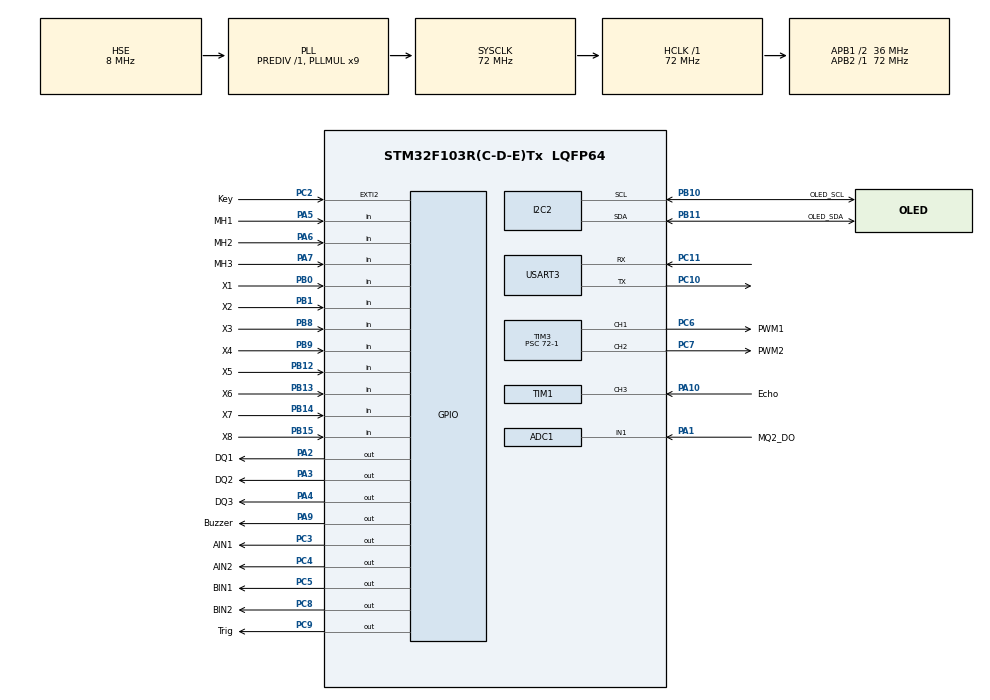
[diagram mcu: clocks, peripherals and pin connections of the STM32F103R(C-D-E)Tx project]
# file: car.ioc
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ADC1.Channel-10\#ChannelRegularConversion=ADC_CHANNEL_1
ADC1.NbrOfConversionFlag=1
ADC1.Rank-10\#ChannelRegularConversion=1
ADC1.SamplingTime-10\#ChannelRegularConversion=ADC_SAMPLETIME_1CYCLE_5
ADC1.master=1
I2C2.I2C_Mode=I2C_Fast
Mcu.Family=STM32F1
Mcu.Name=STM32F103R(C-D-E)Tx
Mcu.Package=LQFP64
NVIC.EXTI2_IRQn=true\:1\:0\:true\:false\:true\:true\:true\:true
NVIC.PriorityGroup=NVIC_PRIORITYGROUP_4
NVIC.TIM1_CC_IRQn=true\:2\:0\:true\:false\:true\:true\:true\:true
NVIC.TIM4_IRQn=true\:4\:0\:true\:false\:true\:true\:true\:true
NVIC.USART3_IRQn=true\:3\:0\:true\:false\:true\:true\:true\:true
PA1.GPIO_Label=MQ2_DO
PA1.Signal=ADCx_IN1
PA10.GPIO_Label=Echo
PA10.Signal=S_TIM1_CH3
PA13.Mode=Serial_Wire
PA13.Signal=SYS_JTMS-SWDIO
PA14.Mode=Serial_Wire
PA14.Signal=SYS_JTCK-SWCLK
PA2.GPIO_Label=DQ1
PA2.GPIO_ModeDefaultOutputPP=GPIO_MODE_OUTPUT_OD
PA2.GPIO_PuPd=GPIO_PULLUP
PA2.GPIO_Speed=GPIO_SPEED_FREQ_HIGH
PA2.Signal=GPIO_Output
PA3.GPIO_Label=DQ2
PA3.GPIO_ModeDefaultOutputPP=GPIO_MODE_OUTPUT_OD
PA3.GPIO_PuPd=GPIO_PULLUP
PA3.GPIO_Speed=GPIO_SPEED_FREQ_HIGH
PA3.Signal=GPIO_Output
PA4.GPIO_Label=DQ3
PA4.GPIO_ModeDefaultOutputPP=GPIO_MODE_OUTPUT_OD
PA4.GPIO_PuPd=GPIO_PULLUP
PA4.GPIO_Speed=GPIO_SPEED_FREQ_HIGH
PA4.Signal=GPIO_Output
PA5.GPIO_Label=MH1
PA5.GPIO_PuPd=GPIO_PULLUP
PA5.Signal=GPIO_Input
PA6.GPIO_Label=MH2
PA6.GPIO_PuPd=GPIO_PULLUP
PA6.Signal=GPIO_Input
PA7.GPIO_Label=MH3
PA7.GPIO_PuPd=GPIO_PULLUP
PA7.Signal=GPIO_Input
PA9.GPIO_Label=Buzzer
PA9.GPIO_PuPd=GPIO_PULLDOWN
PA9.PinState=GPIO_PIN_RESET
PA9.Signal=GPIO_Output
PB0.GPIO_Label=X1
PB0.Signal=GPIO_Input
PB1.GPIO_Label=X2
PB1.Signal=GPIO_Input
PB10.GPIO_Label=OLED_SCL
PB10.Mode=I2C
PB10.Signal=I2C2_SCL
PB11.GPIO_Label=OLED_SDA
PB11.Mode=I2C
PB11.Signal=I2C2_SDA
PB12.GPIO_Label=X5
PB12.Signal=GPIO_Input
PB13.GPIO_Label=X6
PB13.Signal=GPIO_Input
PB14.GPIO_Label=X7
PB14.Signal=GPIO_Input
PB15.GPIO_Label=X8
PB15.Signal=GPIO_Input
PB8.GPIO_Label=X3
PB8.Signal=GPIO_Input
PB9.GPIO_Label=X4
PB9.Signal=GPIO_Input
PC10.Mode=Asynchronous
PC10.Signal=USART3_TX
PC11.Mode=Asynchronous
PC11.Signal=USART3_RX
PC2.GPIO_Label=Key
PC2.GPIO_ModeDefaultEXTI=GPIO_MODE_IT_FALLING
PC2.GPIO_PuPd=GPIO_PULLUP
PC2.Signal=GPXTI2
PC3.GPIO_Label=AIN1
PC3.Signal=GPIO_Output
PC4.GPIO_Label=AIN2
PC4.Signal=GPIO_Output
PC5.GPIO_Label=BIN1
PC5.Signal=GPIO_Output
PC6.GPIO_Label=PWM1
PC6.Signal=S_TIM3_CH1
PC7.GPIO_Label=PWM2
PC7.Signal=S_TIM3_CH2
PC8.GPIO_Label=BIN2
PC8.Signal=GPIO_Output
PC9.GPIO_Label=Trig
PC9.Signal=GPIO_Output
PD0-OSC_IN.Mode=HSE-External-Oscillator
PD0-OSC_IN.Signal=RCC_OSC_IN
PD1-OSC_OUT.Mode=HSE-External-Oscillator
PD1-OSC_OUT.Signal=RCC_OSC_OUT
ProjectManager.HeapSize=0x200
ProjectManager.StackSize=0x400
ProjectManager.TargetToolchain=STM32CubeIDE
RCC.ADCPresc=RCC_ADCPCLK2_DIV6
RCC.AHBFreq_Value=72000000
RCC.APB1CLKDivider=RCC_HCLK_DIV2
RCC.APB1Freq_Value=36000000
RCC.APB1TimFreq_Value=72000000
RCC.APB2Freq_Value=72000000
RCC.APB2TimFreq_Value=72000000
RCC.HCLKFreq_Value=72000000
RCC.PLLMUL=RCC_PLL_MUL9
RCC.PLLSourceVirtual=RCC_PLLSOURCE_HSE
RCC.SYSCLKFreq_VALUE=72000000
RCC.SYSCLKSource=RCC_SYSCLKSOURCE_PLLCLK
RCC.USBFreq_Value=72000000
SH.ADCx_IN1.0=ADC1_IN1,IN1
SH.S_TIM1_CH3.0=TIM1_CH3,Input_Capture3_from_TI3
SH.S_TIM3_CH1.0=TIM3_CH1,PWM Generation1 CH1
SH.S_TIM3_CH2.0=TIM3_CH2,PWM Generation2 CH2
TIM1.Channel-Input_Capture3_from_TI3=TIM_CHANNEL_3
TIM1.Channel-Input_Capture4_from_TI3_63=TIM_CHANNEL_4
TIM1.ICPolarity_CH4=TIM_INPUTCHANNELPOLARITY_FALLING
TIM1.Prescaler=72-1
TIM3.Channel-PWM\ Generation1\ CH1=TIM_CHANNEL_1
TIM3.Channel-PWM\ Generation2\ CH2=TIM_CHANNEL_2
TIM3.Period=100-1
TIM3.Prescaler=72-1
TIM3.Pulse-PWM\ Generation1\ CH1=0
TIM3.Pulse-PWM\ Generation2\ CH2=0
TIM4.Period=10000-1
TIM4.Prescaler=7200-1
USART3.VirtualMode=VM_ASYNC
VP_TIM1_VS_ClockSourceINT.Mode=Internal
VP_TIM1_VS_indirect_ch3.Mode=Input_Capture4_from_TI3_63
VP_TIM3_VS_ClockSourceINT.Mode=Internal
VP_TIM4_VS_ClockSourceINT.Mode=Internal
board=custom

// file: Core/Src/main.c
/* USER CODE BEGIN Header */
/**
  ******************************************************************************
  * @file           : main.c
  * @brief          : Main program body
  ******************************************************************************
  * @attention
  *
  * Copyright (c) 2025 STMicroelectronics.
  * All rights reserved.
  *
  * This software is licensed under terms that can be found in the LICENSE file
  * in the root directory of this software component.
  * If no LICENSE file comes with this software, it is provided AS-IS.
  *
  ******************************************************************************
  */
/* USER CODE END Header */
#include "main.h"
#include "adc.h"
#include "i2c.h"
#include "tim.h"
#include "usart.h"
#include "gpio.h"

/* USER CODE BEGIN Includes */
#include "oled.h"
#include "stdio.h"
#include "ds18b20.h"
#include <stdint.h>
#include "delay.h"
#include "motor.h"
#include "Buzzer.h"
#include "stm32f1xx_it.h"
/* USER CODE END Includes */

/* USER CODE BEGIN PTD */

typedef struct {
    uint8_t start;         // 起始符 0x5A
    uint8_t temp_high;     // 温度高字节
    uint8_t temp_low;      // 温度低字节
    uint8_t smoke_high;    // 烟雾浓度高字节
    uint8_t smoke_low;     // 烟雾浓度低字节
    uint8_t fire;          // 火灾状态（0=no，1=yes）
    uint8_t distance[3];   // 保留位（填 0x00）
    uint8_t checksum;      // 校验和
} DataPacket;

/* USER CODE END PTD */

void SystemClock_Config(void);
/* USER CODE BEGIN PFP */

uint8_t calculate_checksum(DataPacket* packet) {
    uint8_t* data = (uint8_t*)packet;
    uint8_t sum = 0;
    for (int i = 0; i < 9; i++) {
        sum += data[i];
    }
    return sum;
}

void send_data(uint16_t temp, uint16_t smoke, uint8_t fire,uint32_t distance) {
    DataPacket packet;
    // 填充数据
    packet.start = 0x5A;
    packet.temp_high = (temp >> 8) & 0xFF;  // 温度高字节
    packet.temp_low = temp & 0xFF;          // 温度低字节
    packet.smoke_high = (smoke >> 8) & 0xFF;// 烟雾高字节
    packet.smoke_low = smoke & 0xFF;        // 烟雾低字节
    packet.fire = fire;
    packet.distance[0] = (distance >> 16) & 0xFF;
    packet.distance[1] = (distance >> 8) & 0xFF;
    packet.distance[2] = distance & 0xFF;
    // 计算校验和
    packet.checksum = calculate_checksum(&packet);

    // 串口发送（USART1，超时 100ms）
    HAL_UART_Transmit(&huart3, (uint8_t*)&packet, sizeof(DataPacket),100);
}

/* USER CODE END PFP */

/* USER CODE BEGIN 0 */
char mq2[20]="";
char dis[20]="";
char tem1[20]="";
char tem2[20]="";
char tem3[20]="";
char fs[20]="";
char keys[20]="";
/* 这里使用重定义函数以及其他函数定义 */

/* 超声波用 */
int upEdge = 0;
int downEdge = 0;
float distance = 0;
void HAL_TIM_IC_CaptureCallback(TIM_HandleTypeDef *htim)//超声波用
{
	if (htim == &htim1 && htim->Channel == HAL_TIM_ACTIVE_CHANNEL_4)
	{
		upEdge = HAL_TIM_ReadCapturedValue(&htim1, TIM_CHANNEL_3);//频道3接收上升沿
		downEdge = HAL_TIM_ReadCapturedValue(&htim1, TIM_CHANNEL_4);//频道4接收下降沿
		distance = (downEdge - upEdge) * 0.034 / 2;//计算距离
	}
}
/* 超声波用 */
uint16_t temperature1 = 0;
uint16_t temperature2 = 0;
uint16_t temperature3 = 0;
uint16_t temperature = 0;
uint16_t adc_mq2 = 0;
uint8_t fs1 = 0;
uint8_t fs2 = 0;
uint8_t fs3 = 0;
uint8_t fs_state = 0;
uint8_t fire_state = 0;
uint8_t t = 0;
uint16_t tmep= 0;
void HAL_TIM_PeriodElapsedCallback(TIM_HandleTypeDef *htim)
{
	if (htim == &htim4)
	{
		send_data(temperature,adc_mq2,fire_state,distance*10);

	}
}
uint16_t max(uint16_t a,uint16_t b, uint16_t c)
{
	uint16_t max_val = a;
	if(b > max_val){max_val = b;}
	if(c > max_val){max_val = c;}
	return max_val;
}
/* USER CODE END 0 */

int main(void)
{

  /* MCU Configuration--------------------------------------------------------*/

  /* Reset of all peripherals, Initializes the Flash interface and the Systick. */
  HAL_Init();

  /* Configure the system clock */
  SystemClock_Config();

  /* Initialize all configured peripherals */
  MX_GPIO_Init();
  MX_I2C2_Init();
  MX_ADC1_Init();
  MX_USART3_UART_Init();
  MX_TIM1_Init();
  MX_TIM3_Init();
  MX_TIM4_Init();
  /* USER CODE BEGIN 2 */

  //这里写上初始化代码
  HAL_Delay(50);
  OLED_Init();
  HAL_Delay(50);
  HAL_ADCEx_Calibration_Start(&hadc1);//ADC校准初始化
  HAL_TIM_Base_Start(&htim1);//超声传感器定时器启动初始化
  HAL_TIM_IC_Start(&htim1, TIM_CHANNEL_3);
  HAL_TIM_IC_Start_IT(&htim1, TIM_CHANNEL_4);

  HAL_TIM_Base_Start_IT(&htim4);//定时器中断发送

  HAL_TIM_PWM_Start(&htim3, TIM_CHANNEL_1);
  HAL_TIM_PWM_Start(&htim3, TIM_CHANNEL_2);
  ds18b20_init_1();
  Motor_stop();
  buzzer_off();
  /* USER CODE END 2 */

  /* Infinite loop */
  /* USER CODE BEGIN WHILE */
  while (1)
  {
	/* 小车 */

	if(key == 1)
	{
		buzzer_off();
		fire_state = 0;
		track2();
		if(fs1 || fs2 || fs3 ||  adc_mq2>=50)
		{
		 buzzer_on();
		 Motor_stop();
		 key = 0;
		 fire_state = 1;
		}
	}

		/* 小车 */

	/* 超声波模块用 */
	 HAL_GPIO_WritePin(Trig_GPIO_Port, Trig_Pin, GPIO_PIN_SET);
	 HAL_Delay(1);
	 HAL_GPIO_WritePin(Trig_GPIO_Port, Trig_Pin, GPIO_PIN_RESET);
	 __HAL_TIM_SET_COUNTER(&htim1, 0);

	/* 超声波模块用 */

	/* 温度传感器用 */

	  while(t>=20){t++;}
	  t = 0;
	  temperature1= ds18b20_get_temperature_1()/10;			    /* 获取温度值*/
	  if(temperature1>=10000){temperature1 = 25;}
	  while(t>=20){t++;}
	  t = 0;
	  temperature2= ds18b20_get_temperature_2()/10;			    /* 获取温度值*/
	  if(temperature2>=10000){temperature2 = 25;}
	  while(t>=20){t++;}
	  t = 0;
	  temperature3= ds18b20_get_temperature_3()/10;			    /* 获取温度值*/
	  if(temperature3>=10000){temperature3 = 25;}
	  temperature = max(temperature1, temperature2, temperature3);
	  if(temperature>=10000){temperature = 25;}

	/* 温度传感器用 */

	/* MQ2 烟雾传感器用 */
	 adc_mq2 = ADC_IN_1()/100;
	/* MQ2 烟雾传感器用 */

	/* 火焰传感器用 */
	 if(!HAL_GPIO_ReadPin(MH1_GPIO_Port, MH1_Pin)){fs1 = 1;}else{fs1 = 0;}
	 if(!HAL_GPIO_ReadPin(MH2_GPIO_Port, MH2_Pin)){fs2 = 1;}else{fs2 = 0;}
	 if(!HAL_GPIO_ReadPin(MH3_GPIO_Port, MH3_Pin)){fs3 = 1;}else{fs3 = 0;}
	/* 火焰传感器用 */

	/* OLED显示用 */

  	 OLED_NewFrame();
	 sprintf(tem1, "tem1:%u",temperature1);
	 OLED_PrintASCIIString(0, 0, tem1,&afont8x6 , OLED_COLOR_NORMAL);
	 sprintf(tem2, "tem2:%u",temperature2);
	 OLED_PrintASCIIString(0, 8, tem2, &afont8x6, OLED_COLOR_NORMAL);
	 sprintf(tem3, "tem3:%u",temperature3);
	 OLED_PrintASCIIString(0, 16, tem3, &afont8x6, OLED_COLOR_NORMAL);
	 sprintf(mq2,"smoke:%u", adc_mq2);
	 OLED_PrintASCIIString(0, 24, mq2, &afont8x6, OLED_COLOR_NORMAL);
	 sprintf(dis,"distance:%.1fcm",distance);
	 OLED_PrintASCIIString(0, 32, dis, &afont8x6, OLED_COLOR_NORMAL);
	 sprintf(fs,"fs:%u",fire_state);
	 OLED_PrintASCIIString(0, 40, fs, &afont8x6, OLED_COLOR_NORMAL);
	 sprintf(keys,"key:%u",key);
	 OLED_PrintASCIIString(0, 48, keys, &afont8x6, OLED_COLOR_NORMAL);

	 OLED_ShowFrame();

	/* OLED显示用 */

    /* USER CODE END WHILE */

  }
}

void SystemClock_Config(void)
{
  RCC_OscInitTypeDef RCC_OscInitStruct = {0};
  RCC_ClkInitTypeDef RCC_ClkInitStruct = {0};
  RCC_PeriphCLKInitTypeDef PeriphClkInit = {0};

  /** Initializes the RCC Oscillators according to the specified parameters
  * in the RCC_OscInitTypeDef structure.
  */
  RCC_OscInitStruct.OscillatorType = RCC_OSCILLATORTYPE_HSE;
  RCC_OscInitStruct.HSEState = RCC_HSE_ON;
  RCC_OscInitStruct.HSEPredivValue = RCC_HSE_PREDIV_DIV1;
  RCC_OscInitStruct.HSIState = RCC_HSI_ON;
  RCC_OscInitStruct.PLL.PLLState = RCC_PLL_ON;
  RCC_OscInitStruct.PLL.PLLSource = RCC_PLLSOURCE_HSE;
  RCC_OscInitStruct.PLL.PLLMUL = RCC_PLL_MUL9;
  if (HAL_RCC_OscConfig(&RCC_OscInitStruct) != HAL_OK)
  {
    Error_Handler();
  }

  /** Initializes the CPU, AHB and APB buses clocks
  */
  RCC_ClkInitStruct.ClockType = RCC_CLOCKTYPE_HCLK|RCC_CLOCKTYPE_SYSCLK
                              |RCC_CLOCKTYPE_PCLK1|RCC_CLOCKTYPE_PCLK2;
  RCC_ClkInitStruct.SYSCLKSource = RCC_SYSCLKSOURCE_PLLCLK;
  RCC_ClkInitStruct.AHBCLKDivider = RCC_SYSCLK_DIV1;
  RCC_ClkInitStruct.APB1CLKDivider = RCC_HCLK_DIV2;
  RCC_ClkInitStruct.APB2CLKDivider = RCC_HCLK_DIV1;

  if (HAL_RCC_ClockConfig(&RCC_ClkInitStruct, FLASH_LATENCY_2) != HAL_OK)
  {
    Error_Handler();
  }
  PeriphClkInit.PeriphClockSelection = RCC_PERIPHCLK_ADC;
  PeriphClkInit.AdcClockSelection = RCC_ADCPCLK2_DIV6;
  if (HAL_RCCEx_PeriphCLKConfig(&PeriphClkInit) != HAL_OK)
  {
    Error_Handler();
  }
}

void Error_Handler(void)
{
  __disable_irq();
  while (1)
  {
  }
}
